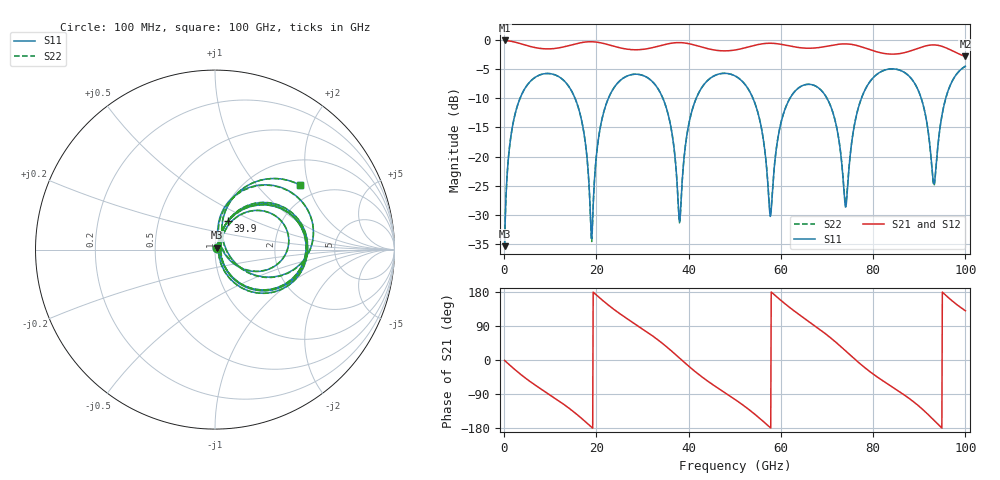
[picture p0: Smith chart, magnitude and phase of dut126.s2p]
! Touchstone file exported from HFSS 2026.1.0
!  File:  C:/ffzhzh/LocalFiles/Ansys_Project_Files/temp_train_TSV_RDL_126_1783459966_7600.aedt
!  Generated:  05:43:53 AM Jul  8, 2026
!  Design:  TSV_RDL
!  Project:  temp_train_TSV_RDL_126_1783459966_7600
! Variables:
!  h_bsmrdl = 2.77um
!  h_ox = 20um
!  h_rdl = 5um
!  h_sub = 59.21um
!  h_tmrdl = 4.87um
!  h_tsv = 59.21um
!  h_via = 3um
!  l_bsmrdl = 451.69um
!  l_sub = 3319.69um
!  l_tmrdl = 355.17um
!  m_sub = 200um
!  pitch = 51.6um
!  r_tsv = 9.05um
!  s_tmrdl = 10um
!  w_bsmrdl = 24.78um
!  w_sub = 500um
!  w_tmrdl = 23.2um
!  x_tsv_center1 = 366.77um
!  x_tsv_center2 = 843.24um
!  x_tsv_center3 = 1221.61um
!  x_tsv_center4 = 1698.08um
!  x_tsv_center5 = 2076.45um
!  x_tsv_center6 = 2552.92um
# GHz S MA R 50.000000
! Terminal data exported
! Port[1] = TM_RDL1_1_T1
! Port[2] = TM_RDL5_1_T1
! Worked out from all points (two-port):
!   1000 points, 100 MHz to 100 GHz, reference 50 ohm
!   highest |S21| = -0.11 dB at 100 MHz (marker M1); lowest = -2.9 dB at 100 GHz (marker M2)
!   |S21| within 3 dB of the highest: start of sweep to end of sweep
!   lowest |S11| = -35.3 dB at 100 MHz (marker M3), VSWR 1.03, Z = 51.3 + j1.14 ohm
!   |S11| at or under -10 dB: 15.36 GHz to 22.61 GHz (7.247 GHz wide, 38.2 % of centre); 53.94 GHz to 61.97 GHz (8.034 GHz wide, 13.9 % of centre); 69.98 GHz to 77.46 GHz (7.483 GHz wide, 10.2 % of centre) (the widest 3 of 6)
!   |S22| runs from -35.3 to -4.5 dB; largest |S21 - S12| = 2.8e-14
!   S11 on the Smith chart (normalised r, x): 100 MHz: 1.03, +0.02; 39.9 GHz: 1.10, +0.37; 100 GHz: 1.59, +1.77
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0.1  0.01712 40.3  0.9871 -1.2  0.9871 -1.2  0.01712 40.3
! Gamma 0 0 0 0
! Port Impedance 50 0 50 0
1.7  0.1717 65.5  0.9677 -18.7  0.9677 -18.7  0.1717 65.4
5  0.4098 36.0  0.8913 -51.2  0.8913 -51.2  0.4098 36.0
16.8  0.2036 -60.7  0.9469 -154.2  0.9469 -154.2  0.2035 -60.9
19  0.01983 11.9  0.9625 -177.8  0.9625 -177.8  0.01876 12.6
23.2  0.3541 45.5  0.894 139.1  0.894 139.1  0.3541 45.7
33.4  0.3788 -35.8  0.8811 52.6  0.8811 52.6  0.3787 -35.7
38  0.02779 -2.5  0.9462 5.3  0.9462 5.3  0.02714 -2.5
39.9  0.1782 65.4  0.9288 -15.1  0.9288 -15.1  0.1782 65.7
50.1  0.4896 -14.2  0.8185 -104.5  0.8185 -104.5  0.4897 -13.9
55  0.2387 -53.8  0.9096 -149.8  0.9096 -149.8  0.239 -53.4
57.7  0.03077 -1.8  0.9343 -178.4  0.9343 -178.4  0.0325 -1.8
60.8  0.2489 53.0  0.9034 149.3  0.9034 149.3  0.249 52.8
66.7  0.4131 5.8  0.8477 95.9  0.8477 95.9  0.4132 5.9
71.3  0.2364 -30.6  0.901 53.2  0.901 53.2  0.2368 -30.1
74  0.03694 17.3  0.9225 24.4  0.9225 24.4  0.03998 17.6
77.3  0.3034 71.7  0.8748 -11.2  0.8748 -11.2  0.3037 71.0
83.4  0.5613 23.7  0.7557 -65.3  0.7557 -65.3  0.5612 23.4
89.8  0.3677 -24.2  0.8476 -120.5  0.8476 -120.5  0.3674 -24.6
93.2  0.05839 22.0  0.9042 -159.2  0.9042 -159.2  0.05645 21.9
95.8  0.322 69.5  0.8534 170.1  0.8534 170.1  0.3216 69.7
100  0.594 37.3  0.72 130.0  0.72 130.0  0.5937 37.2
